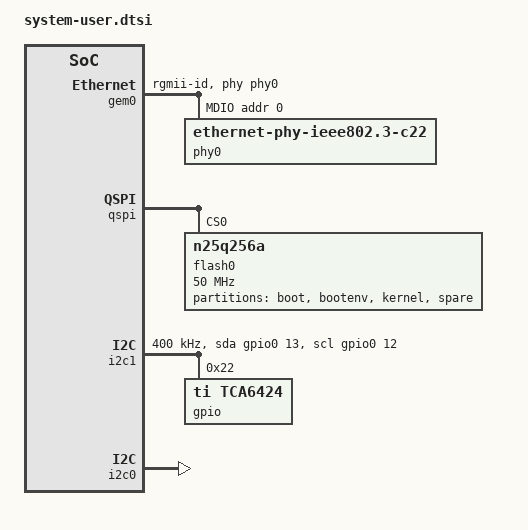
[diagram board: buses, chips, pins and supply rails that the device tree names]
/include/ "system-conf.dtsi"
/ {
    

chosen {
		bootargs = "console=ttyPS0,115200 earlycon clk_ignore_unused root=/dev/mmcblk1p2 rootfstype=ext4 rw rootwait";
		stdout-path = "serial0:115200n8";
	};
};

&gem0{
    status = "okay";
    phy-handle = <&phy0>;
    phy-mode = "rgmii-id";
    
    pinctrl-names = "default";
    phy-reset-gpio = <&gpio0 28 0>;
    phy-reset-active-low;
	
    xlnx,eth-mode = <0x1>;
     mdio {
        status = "okay";
        #address-cells = <1>;
        #size-cells = <0>;
        phy0: phy@0{
            compatible = "ethernet-phy-ieee802.3-c22";
            device_type = "ethernet-phy";

            reg = <0>;
            ti,rx-internal-delay = <0x8>; 
            ti,tx-internal-delay = <0xa>; 
            ti,fifo-depth = <0x01>; 
            ti,min-output-impedance;
            ti,dp83867-rxctrl-strap-quirk;
            status = "okay";
        };
    };
};

&clkc {
	ps-clk-frequency = <33333333>;
};
&sdhci0 {
	u-boot,dm-pre-reloc;
};

&uart1 {
	u-boot,dm-pre-reloc;
};
&qspi {
	#address-cells = <1>;
	#size-cells = <0>;
	flash0: flash@0 {
		compatible = "n25q256a","micron,m25p80","jedec,spi-nor";
		reg = <0x0>;
		#address-cells = <1>;
		#size-cells = <1>;
		spi-max-frequency = <50000000>;
		partition@0x00000000 {
			label = "boot";
			reg = <0x00000000 0x00500000>;
		};
		partition@0x00500000 {
			label = "bootenv";
			reg = <0x00500000 0x00020000>;
		};
		partition@0x00520000 {
			label = "kernel";
			reg = <0x00520000 0x00a80000>;
		};
		partition@0x00fa0000 {
			label = "spare";
			reg = <0x00fa0000 0x00000000>;
		};
	};
};
&i2c1 {
	status = "okay";
	clock-frequency = <400000>;
	pinctrl-names = "default", "gpio";
	scl-gpios = <&gpio0 12 0>;
	sda-gpios = <&gpio0 13 0>;
i2c@0{
			#address-cells = <1>;
			#size-cells = <0>;
			reg = <0>;
			gpio@22 {
				compatible = "ti,tca6424";
				reg = <0x22>;
				gpio-controller;
				#gpio-cells = <2>;
			};
		};
};
&i2c0 {
	status = "okay";
};

